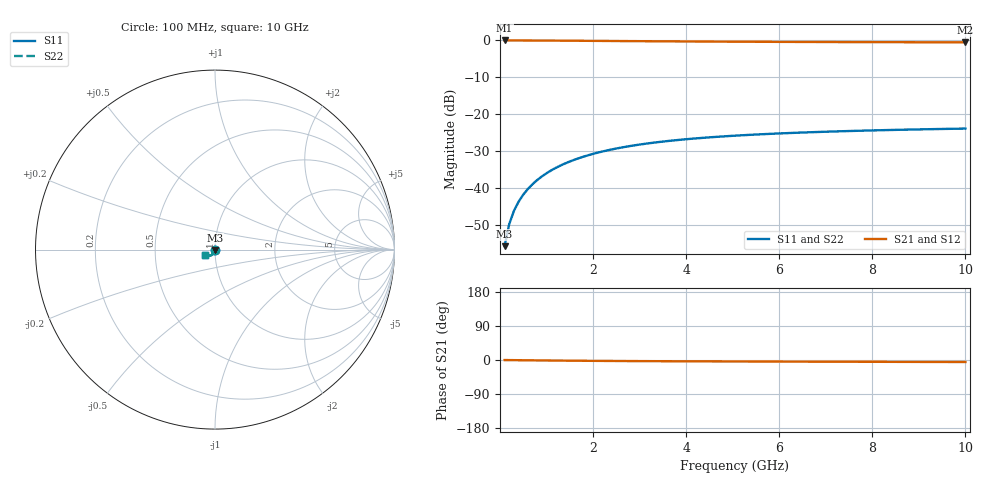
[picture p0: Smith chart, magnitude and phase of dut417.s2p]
! Touchstone file exported from HFSS 2024.1.0
!  File:  C:/UserFiles/LocalFiles/RDL_TSV_Batchsim/temp_TSV1_417_1779693016.aedt
!  Generated:  03:15:08 PM May 25, 2026
!  Design:  TSV1
!  Project:  temp_TSV1_417_1779693016
!  Setup:  Setup1
!  Solution:  Sweep
! Variables:
!  dtsv = 12.23um
!  hbump = 3um
!  htsv = 81.99um
!  lrdl = 252.1521522um
!  p = 40
!  p1 = 40.39um
!  t = 500um
!  trdl = 3um
!  wrdl = 24.89489489um
# GHz S MA R 50.000000
! Terminal data exported
! Port[1] = TSV22_T1
! Port[2] = TSV22_T2
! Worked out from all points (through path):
!   100 points, 100 MHz to 10 GHz, reference 50 ohm
!   highest |S21| = 0.00 dB at 100 MHz (marker M1); lowest = -0.5 dB at 10 GHz (marker M2)
!   lowest |S11| = -55.8 dB at 100 MHz (marker M3), VSWR 1.00, Z = 50 - j0.162 ohm
!   |S11| at or under -10 dB: start of sweep to end of sweep
!   |S22| runs from -55.8 to -23.9 dB; largest |S21 - S12| = 2.3e-15
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0.1  0.001618 -87.8  0.9999 -0.1  0.9999 -0.1  0.001618 -87.8
! Gamma 0 0 0 0
! Port Impedance 50 0 50 0
0.2  0.00324 -90.8  0.9997 -0.3  0.9997 -0.3  0.00324 -90.8
0.3  0.004864 -92.8  0.9995 -0.4  0.9995 -0.4  0.004864 -92.8
0.4  0.006479 -94.5  0.9992 -0.5  0.9992 -0.5  0.006479 -94.5
0.5  0.008081 -96.2  0.9989 -0.7  0.9989 -0.7  0.008081 -96.2
0.6  0.009666 -97.7  0.9984 -0.8  0.9984 -0.8  0.009666 -97.7
0.7  0.01123 -99.2  0.9979 -0.9  0.9979 -0.9  0.01123 -99.2
0.8  0.01277 -100.7  0.9973 -1.0  0.9973 -1.0  0.01277 -100.7
0.9  0.01429 -102.1  0.9967 -1.1  0.9967 -1.1  0.01429 -102.1
1.1  0.01725 -104.8  0.9953 -1.4  0.9953 -1.4  0.01725 -104.8
1.4  0.02144 -108.7  0.9928 -1.7  0.9928 -1.7  0.02144 -108.7
1.6  0.02407 -111.2  0.991 -1.9  0.991 -1.9  0.02407 -111.2
1.8  0.02656 -113.6  0.9891 -2.1  0.9891 -2.1  0.02656 -113.6
2.1  0.03004 -116.9  0.9863 -2.3  0.9863 -2.3  0.03004 -116.9
2.5  0.03419 -120.9  0.9824 -2.6  0.9824 -2.6  0.03419 -120.9
2.9  0.03783 -124.6  0.9787 -2.9  0.9787 -2.9  0.03783 -124.6
3.4  0.04175 -128.6  0.9742 -3.1  0.9742 -3.1  0.04175 -128.6
4.2  0.04685 -133.9  0.9679 -3.5  0.9679 -3.5  0.04685 -133.9
5.1  0.05128 -138.8  0.9618 -3.9  0.9618 -3.9  0.05128 -138.8
6.7  0.05692 -145.3  0.9536 -4.4  0.9536 -4.4  0.05693 -145.3
8.4  0.061 -150.3  0.9474 -4.9  0.9474 -4.9  0.061 -150.3
10  0.06372 -153.9  0.9432 -5.4  0.9432 -5.4  0.06372 -153.9
